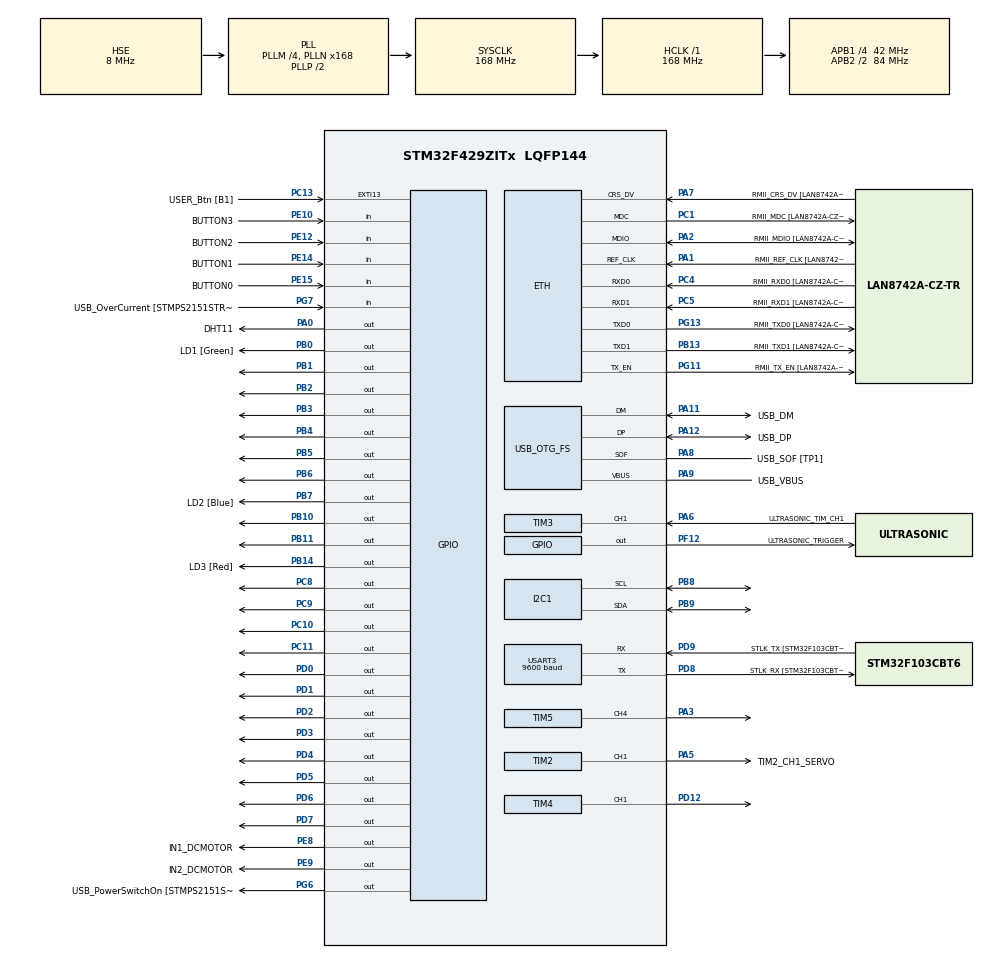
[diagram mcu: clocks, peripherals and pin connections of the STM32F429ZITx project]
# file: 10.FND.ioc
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ETH.MediaInterface=HAL_ETH_RMII_MODE
ETH.PHY_Name=LAN8742A_PHY_ADDRESS
ETH.PHY_Value=0
ETH.PhyAddress=0
Mcu.Family=STM32F4
Mcu.Name=STM32F429ZITx
Mcu.Package=LQFP144
NVIC.PriorityGroup=NVIC_PRIORITYGROUP_4
NVIC.TIM1_TRG_COM_TIM11_IRQn=true\:0\:0\:false\:false\:true\:true\:true\:true
NVIC.TIM1_UP_TIM10_IRQn=true\:0\:0\:false\:false\:true\:true\:true\:true
NVIC.TIM2_IRQn=true\:0\:0\:false\:false\:true\:true\:true\:true
NVIC.TIM3_IRQn=true\:0\:0\:false\:false\:true\:true\:true\:true
NVIC.TIM4_IRQn=true\:0\:0\:false\:false\:true\:true\:true\:true
NVIC.TIM5_IRQn=true\:0\:0\:false\:false\:true\:true\:true\:true
NVIC.USART3_IRQn=true\:0\:0\:false\:false\:true\:true\:true\:true
PA0/WKUP.GPIO_Label=DHT11
PA0/WKUP.Signal=GPIO_Output
PA1.GPIO_Label=RMII_REF_CLK [LAN8742A-CZ-TR_REFCLK0]
PA1.Mode=RMII
PA1.Signal=ETH_REF_CLK
PA10.GPIO_Label=USB_ID
PA10.Signal=USB_OTG_FS_ID
PA11.GPIO_Label=USB_DM
PA11.Mode=Device_Only
PA11.Signal=USB_OTG_FS_DM
PA12.GPIO_Label=USB_DP
PA12.Mode=Device_Only
PA12.Signal=USB_OTG_FS_DP
PA13.GPIO_Label=TMS
PA13.Mode=Serial_Wire
PA13.Signal=SYS_JTMS-SWDIO
PA14.GPIO_Label=TCK
PA14.Mode=Serial_Wire
PA14.Signal=SYS_JTCK-SWCLK
PA2.GPIO_Label=RMII_MDIO [LAN8742A-CZ-TR_MDIO]
PA2.Mode=RMII
PA2.Signal=ETH_MDIO
PA3.Signal=S_TIM5_CH4
PA5.GPIO_Label=TIM2_CH1_SERVO
PA5.Signal=S_TIM2_CH1_ETR
PA6.GPIO_Label=ULTRASONIC_TIM_CH1
PA6.Signal=S_TIM3_CH1
PA7.GPIO_Label=RMII_CRS_DV [LAN8742A-CZ-TR_CRS_DV]
PA7.Mode=RMII
PA7.Signal=ETH_CRS_DV
PA8.GPIO_Label=USB_SOF [TP1]
PA8.Mode=Activate_SOF_FS
PA8.Signal=USB_OTG_FS_SOF
PA9.GPIO_Label=USB_VBUS
PA9.Mode=Activate_VBUS
PA9.Signal=USB_OTG_FS_VBUS
PB0.GPIO_Label=LD1 [Green]
PB0.Signal=GPIO_Output
PB1.Signal=GPIO_Output
PB10.Signal=GPIO_Output
PB11.Signal=GPIO_Output
PB13.GPIO_Label=RMII_TXD1 [LAN8742A-CZ-TR_TXD1]
PB13.Mode=RMII
PB13.Signal=ETH_TXD1
PB14.GPIO_Label=LD3 [Red]
PB14.Signal=GPIO_Output
PB2/BOOT1.Signal=GPIO_Output
PB3.Signal=GPIO_Output
PB4.Signal=GPIO_Output
PB5.Signal=GPIO_Output
PB6.Signal=GPIO_Output
PB7.GPIO_Label=LD2 [Blue]
PB7.Signal=GPIO_Output
PB8.Mode=I2C
PB8.Signal=I2C1_SCL
PB9.Mode=I2C
PB9.Signal=I2C1_SDA
PC1.GPIO_Label=RMII_MDC [LAN8742A-CZ-TR_MDC]
PC1.Mode=RMII
PC1.Signal=ETH_MDC
PC10.Signal=GPIO_Output
PC11.Signal=GPIO_Output
PC13.GPIO_Label=USER_Btn [B1]
PC13.Signal=GPXTI13
PC14/OSC32_IN.Mode=LSE-External-Oscillator
PC14/OSC32_IN.Signal=RCC_OSC32_IN
PC15/OSC32_OUT.Mode=LSE-External-Oscillator
PC15/OSC32_OUT.Signal=RCC_OSC32_OUT
PC4.GPIO_Label=RMII_RXD0 [LAN8742A-CZ-TR_RXD0]
PC4.Mode=RMII
PC4.Signal=ETH_RXD0
PC5.GPIO_Label=RMII_RXD1 [LAN8742A-CZ-TR_RXD1]
PC5.Mode=RMII
PC5.Signal=ETH_RXD1
PC8.Signal=GPIO_Output
PC9.Signal=GPIO_Output
PD0.Signal=GPIO_Output
PD1.Signal=GPIO_Output
PD12.Signal=S_TIM4_CH1
PD2.Signal=GPIO_Output
PD3.Signal=GPIO_Output
PD4.Signal=GPIO_Output
PD5.Signal=GPIO_Output
PD6.Signal=GPIO_Output
PD7.Signal=GPIO_Output
PD8.GPIO_Label=STLK_RX [STM32F103CBT6_PA3]
PD8.Mode=Asynchronous
PD8.Signal=USART3_TX
PD9.GPIO_Label=STLK_TX [STM32F103CBT6_PA2]
PD9.Mode=Asynchronous
PD9.Signal=USART3_RX
PE10.GPIO_Label=BUTTON3
PE10.Signal=GPIO_Input
PE12.GPIO_Label=BUTTON2
PE12.Signal=GPIO_Input
PE14.GPIO_Label=BUTTON1
PE14.Signal=GPIO_Input
PE15.GPIO_Label=BUTTON0
PE15.Signal=GPIO_Input
PE8.GPIO_Label=IN1_DCMOTOR
PE8.Signal=GPIO_Output
PE9.GPIO_Label=IN2_DCMOTOR
PE9.Signal=GPIO_Output
PF12.GPIO_Label=ULTRASONIC_TRIGGER
PF12.Signal=GPIO_Output
PG11.GPIO_Label=RMII_TX_EN [LAN8742A-CZ-TR_TXEN]
PG11.Mode=RMII
PG11.Signal=ETH_TX_EN
PG13.GPIO_Label=RMII_TXD0 [LAN8742A-CZ-TR_TXD0]
PG13.Mode=RMII
PG13.Signal=ETH_TXD0
PG6.GPIO_Label=USB_PowerSwitchOn [STMPS2151STR_EN]
PG6.Signal=GPIO_Output
PG7.GPIO_Label=USB_OverCurrent [STMPS2151STR_FAULT]
PG7.Signal=GPIO_Input
PH0/OSC_IN.GPIO_Label=MCO [STM32F103CBT6_PA8]
PH0/OSC_IN.Mode=HSE-External-Clock-Source
PH0/OSC_IN.Signal=RCC_OSC_IN
PH1/OSC_OUT.Mode=HSE-External-Clock-Source
PH1/OSC_OUT.Signal=RCC_OSC_OUT
ProjectManager.HeapSize=0x200
ProjectManager.StackSize=0x400
ProjectManager.TargetToolchain=STM32CubeIDE
RCC.48MHZClocksFreq_Value=48000000
RCC.AHBFreq_Value=168000000
RCC.APB1CLKDivider=RCC_HCLK_DIV4
RCC.APB1Freq_Value=42000000
RCC.APB1TimFreq_Value=84000000
RCC.APB2CLKDivider=RCC_HCLK_DIV2
RCC.APB2Freq_Value=84000000
RCC.APB2TimCLKDivider=2
RCC.APB2TimFreq_Value=168000000
RCC.CortexFreq_Value=168000000
RCC.HCLKFreq_Value=168000000
RCC.HSE_VALUE=8000000
RCC.HSI_VALUE=16000000
RCC.PLLM=4
RCC.PLLMUL=RCC_PLL_MUL9
RCC.PLLN=168
RCC.PLLQ=7
RCC.PRESCALERUSB=RCC_USBCLKSOURCE_PLL_DIV1_5
RCC.SYSCLKFreq_VALUE=168000000
RCC.SYSCLKSource=RCC_SYSCLKSOURCE_PLLCLK
RCC.SYSCLKSourceVirtual=RCC_SYSCLKSOURCE_PLLCLK
RCC.USBFreq_Value=48000000
RCC.VCOOutputFreq_Value=336000000
RTC.Date=16
RTC.Hours=9
RTC.Minutes=39
RTC.Month=RTC_MONTH_OCTOBER
RTC.Year=23
SH.S_TIM2_CH1_ETR.0=TIM2_CH1,PWM Generation1 CH1
SH.S_TIM3_CH1.0=TIM3_CH1,Input_Capture1_from_TI1
SH.S_TIM4_CH1.0=TIM4_CH1,PWM Generation1 CH1
SH.S_TIM5_CH4.0=TIM5_CH4,PWM Generation4 CH4
TIM10.Period=10000-1
TIM10.Prescaler=168-1
TIM11.Prescaler=168-1
TIM2.Channel-PWM\ Generation1\ CH1=TIM_CHANNEL_1
TIM2.Period=1000-1
TIM2.Prescaler=1680-1
TIM2.Pulse-PWM\ Generation1\ CH1=500-1
TIM3.Channel-Input_Capture1_from_TI1=TIM_CHANNEL_1
TIM3.ICPolarity_CH1=TIM_INPUTCHANNELPOLARITY_BOTHEDGE
TIM3.Prescaler=84-1
TIM4.Channel-PWM\ Generation1\ CH1=TIM_CHANNEL_1
TIM4.OCFastMode_PWM-PWM\ Generation1\ CH1=TIM_OCFAST_ENABLE
TIM4.Period=100-1
TIM4.Prescaler=840-1
TIM4.Pulse-PWM\ Generation1\ CH1=70-1
TIM5.Channel-PWM\ Generation4\ CH4=TIM_CHANNEL_4
TIM5.Period=400-1
TIM5.Prescaler=52.5-1
TIM5.Pulse-PWM\ Generation4\ CH4=200-1
USART3.BaudRate=9600
USART3.VirtualMode=VM_ASYNC
USB_OTG_FS.VirtualMode=Device_Only
VP_RTC_VS_RTC_Activate.Mode=RTC_Enabled
VP_RTC_VS_RTC_Calendar.Mode=RTC_Calendar
VP_TIM10_VS_ClockSourceINT.Mode=Enable_Timer
VP_TIM11_VS_ClockSourceINT.Mode=Enable_Timer
VP_TIM4_VS_ClockSourceINT.Mode=Internal
VP_TIM5_VS_ClockSourceINT.Mode=Internal
board=NUCLEO-F429ZI

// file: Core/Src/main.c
/* USER CODE BEGIN Header */
/**
  ******************************************************************************
  * @file           : main.c
  * @brief          : Main program body
  ******************************************************************************
  * @attention
  *
  * Copyright (c) 2023 STMicroelectronics.
  * All rights reserved.
  *
  * This software is licensed under terms that can be found in the LICENSE file
  * in the root directory of this software component.
  * If no LICENSE file comes with this software, it is provided AS-IS.
  *
  ******************************************************************************
  */
/* USER CODE END Header */
#include "main.h"
#include "string.h"

ETH_TxPacketConfig TxConfig;
ETH_DMADescTypeDef  DMARxDscrTab[ETH_RX_DESC_CNT]; /* Ethernet Rx DMA Descriptors */
ETH_DMADescTypeDef  DMATxDscrTab[ETH_TX_DESC_CNT]; /* Ethernet Tx DMA Descriptors */

ETH_HandleTypeDef heth;

I2C_HandleTypeDef hi2c1;

RTC_HandleTypeDef hrtc;

TIM_HandleTypeDef htim2;
TIM_HandleTypeDef htim3;
TIM_HandleTypeDef htim4;
TIM_HandleTypeDef htim5;
TIM_HandleTypeDef htim10;
TIM_HandleTypeDef htim11;

UART_HandleTypeDef huart3;

PCD_HandleTypeDef hpcd_USB_OTG_FS;

/* USER CODE BEGIN PV */
UART_HandleTypeDef huart3;
UART_HandleTypeDef huart6;
uint8_t rx_data;	// uart3 rx data
uint8_t bt_rx_data;		// uart6 rx data
volatile int TIM10_10ms_counter = 0;
volatile int TIM10_10ms_ultrasonic = 0;
/* USER CODE END PV */

void SystemClock_Config(void);
static void MX_GPIO_Init(void);
static void MX_ETH_Init(void);
static void MX_USART3_UART_Init(void);
static void MX_USB_OTG_FS_PCD_Init(void);
static void MX_TIM10_Init(void);
static void MX_TIM11_Init(void);
static void MX_TIM3_Init(void);
static void MX_I2C1_Init(void);
static void MX_TIM4_Init(void);
static void MX_TIM2_Init(void);
static void MX_RTC_Init(void);
static void MX_TIM5_Init(void);
/* USER CODE BEGIN PFP */
extern void led_main(void);
extern void pc_command_processing(void);
extern void bt_command_processing(void);
extern void DHT11_main(void);
extern void DHT11_Init(void);
extern void DHT11_processing(void);
extern void ultrasonic_processing(void);
extern void i2c_lcd_main(void);
extern void i2c_lcd_init(void);
extern void lcd_string(uint8_t *str);
extern void move_cursor(uint8_t row, uint8_t column);
extern void dcmotor_pwm_control(void);
extern void servo_motor_test_main(void);
extern void get_rtc(void);
extern void lcd_display_mode_select(void);
extern void set_time_button_ui(void);
extern void buzzer_main();
extern void fnd4digit_main(void);
extern void FND4digit_off(void);
extern void fnd4digit_sec_clock(void);

void delay_us(unsigned long us);
/* USER CODE END PFP */

/* USER CODE BEGIN 0 */
// ----------------------
// call by SysTick Handler of stm32f4xx_it.c
// ARM default timer\
// enter here every 1ms
volatile int t1ms_counter = 0;	// volatile : disable optimize 최적?�� 방�?
volatile int fnd1ms_counter = 0;  // fnd1ms
void HAL_SYSTICK_Handler(void)
{
	t1ms_counter++;
	fnd1ms_counter++;
}
//----------  printf start ----------
#ifdef __GNUC__
/* With GCC, small printf (option LD Linker->Libraries->Small printf
   set to 'Yes') calls __io_putchar() */
#define PUTCHAR_PROTOTYPE int __io_putchar(int ch)
#else
#define PUTCHAR_PROTOTYPE int fputc(int ch, FILE *f)
#endif /* __GNUC_ */
/**
  * @brief  Retargets the C library printf function to the USART.
  * @param  None
  * @retval None
  */
PUTCHAR_PROTOTYPE   // Add for printf
{
  /* Place your implementation of fputc here */
  /* e.g. write a character to the USART3 and Loop until the end of transmission */
  HAL_UART_Transmit(&huart3, (uint8_t *)&ch, 1, 0xFFFF);

  return ch;
}
//----------  printf end ----------

// move from Dirver/STM32F4xx_HAL_Driver/stm32f4xx_hal_tim.c to here
// enter here when every timer INT occurs
//volatile int TIM10_10ms_counter = 0;

void HAL_TIM_PeriodElapsedCallback(TIM_HandleTypeDef *htim)
{
	if (htim->Instance == TIM10)
	{
		TIM10_10ms_counter++;
		TIM10_10ms_ultrasonic++;	// 초음?�� ?��?��(ultrasonic trigger) timer
	}
}

void delay_us(unsigned long us)
{
	__HAL_TIM_SET_COUNTER(&htim11, 0);	// timer11 clear
	while(__HAL_TIM_GET_COUNTER(&htim11) < us)
	;
}
/* USER CODE END 0 */

int main(void)
{

  /* MCU Configuration--------------------------------------------------------*/

  /* Reset of all peripherals, Initializes the Flash interface and the Systick. */
  HAL_Init();

  /* Configure the system clock */
  SystemClock_Config();

  /* Initialize all configured peripherals */
  MX_GPIO_Init();
  MX_ETH_Init();
  MX_USART3_UART_Init();
  MX_USB_OTG_FS_PCD_Init();
  MX_TIM10_Init();
  MX_TIM11_Init();
  MX_TIM3_Init();
  MX_I2C1_Init();
  MX_TIM4_Init();
  MX_TIM2_Init();
  MX_RTC_Init();
  MX_TIM5_Init();
  /* USER CODE BEGIN 2 */
  HAL_UART_Receive_IT(&huart3, &rx_data, 1); // assing to RX INT
  HAL_UART_Receive_IT(&huart6, &bt_rx_data, 1); //for BT assign to RX INT
  HAL_TIM_Base_Start_IT(&htim10);	// IT = Interrupt	ADD_JIMIN_1011
  HAL_TIM_Base_Start_IT(&htim11);	// IT = Interrupt	ADD_JIMIN_1011
  HAL_TIM_IC_Start_IT(&htim3, TIM_CHANNEL_1);	// for pulse count (rising edge & falling edge)
  HAL_TIM_PWM_Start_IT(&htim4, TIM_CHANNEL_1);	// for DC motor PWM count
  HAL_TIM_PWM_Start_IT(&htim5, TIM_CHANNEL_4);	// PIEZO Buzzer

  TIM10_10ms_counter = 0;

  DHT11_Init();
  i2c_lcd_init();

//  led_main();
//  DHT11_main();
//  i2c_lcd_main();
//  servo_motor_test_main();
//  buzzer_main();
//  fnd4digit_main();
  /* USER CODE END 2 */

  /* Infinite loop */
  /* USER CODE BEGIN WHILE */

  while (1)
  {
	  DHT11_processing();
	  pc_command_processing();
	  bt_command_processing();
	  ultrasonic_processing();
//	  dcmotor_pwm_control();
//	  get_rtc();
	  lcd_display_mode_select();
	  set_time_button_ui();
	  fnd4digit_sec_clock();

#if 0
	  if (TIM10_10ms_counter % 5 == 0)	// 50ms
	  {
//		  TIM10_10ms_counter = 0;
		  HAL_GPIO_TogglePin(GPIOB, GPIO_PIN_0);	// LED1

		  if (TIM10_10ms_counter % 10 == 0)
		  {
			  HAL_GPIO_TogglePin(GPIOB, GPIO_PIN_7);	// LED2
		  }
		  if (TIM10_10ms_counter % 15 == 0)
		  {
			  HAL_GPIO_TogglePin(GPIOB, GPIO_PIN_14);	// LED3
		  }
	  }

//	  if (TIM10_10ms_counter >= 5)	// 50ms
//	  {
//		  HAL_GPIO_TogglePin(GPIOB, GPIO_PIN_0);	// LED1
//
//		  if (TIM10_10ms_counter >= 10)
//		  {
//			  HAL_GPIO_TogglePin(GPIOB, GPIO_PIN_7);	// LED2
//			  if (TIM10_10ms_counter >= 15)
//			  {
//				  HAL_GPIO_TogglePin(GPIOB, GPIO_PIN_14);	// LED3
//				  TIM10_10ms_counter = 0;
//			  }
//		  }
//	  }
#endif
    /* USER CODE END WHILE */

    /* USER CODE BEGIN 3 */
//	  HAL_GPIO_TogglePin(GPIOB, GPIO_PIN_0);	// LED 1
//	  HAL_GPIO_TogglePin(GPIOB, GPIO_PIN_7);	// LED 2
//	  HAL_GPIO_TogglePin(GPIOB, GPIO_PIN_14);	// LED 3
//	  HAL_Delay(200);	// 200ms
  }
  /* USER CODE END 3 */
}

void SystemClock_Config(void)
{
  RCC_OscInitTypeDef RCC_OscInitStruct = {0};
  RCC_ClkInitTypeDef RCC_ClkInitStruct = {0};

  /** Configure the main internal regulator output voltage
  */
  __HAL_RCC_PWR_CLK_ENABLE();
  __HAL_PWR_VOLTAGESCALING_CONFIG(PWR_REGULATOR_VOLTAGE_SCALE1);

  /** Initializes the RCC Oscillators according to the specified parameters
  * in the RCC_OscInitTypeDef structure.
  */
  RCC_OscInitStruct.OscillatorType = RCC_OSCILLATORTYPE_LSI|RCC_OSCILLATORTYPE_HSE;
  RCC_OscInitStruct.HSEState = RCC_HSE_BYPASS;
  RCC_OscInitStruct.LSIState = RCC_LSI_ON;
  RCC_OscInitStruct.PLL.PLLState = RCC_PLL_ON;
  RCC_OscInitStruct.PLL.PLLSource = RCC_PLLSOURCE_HSE;
  RCC_OscInitStruct.PLL.PLLM = 4;
  RCC_OscInitStruct.PLL.PLLN = 168;
  RCC_OscInitStruct.PLL.PLLP = RCC_PLLP_DIV2;
  RCC_OscInitStruct.PLL.PLLQ = 7;
  if (HAL_RCC_OscConfig(&RCC_OscInitStruct) != HAL_OK)
  {
    Error_Handler();
  }

  /** Initializes the CPU, AHB and APB buses clocks
  */
  RCC_ClkInitStruct.ClockType = RCC_CLOCKTYPE_HCLK|RCC_CLOCKTYPE_SYSCLK
                              |RCC_CLOCKTYPE_PCLK1|RCC_CLOCKTYPE_PCLK2;
  RCC_ClkInitStruct.SYSCLKSource = RCC_SYSCLKSOURCE_PLLCLK;
  RCC_ClkInitStruct.AHBCLKDivider = RCC_SYSCLK_DIV1;
  RCC_ClkInitStruct.APB1CLKDivider = RCC_HCLK_DIV4;
  RCC_ClkInitStruct.APB2CLKDivider = RCC_HCLK_DIV2;

  if (HAL_RCC_ClockConfig(&RCC_ClkInitStruct, FLASH_LATENCY_5) != HAL_OK)
  {
    Error_Handler();
  }
}

static void MX_ETH_Init(void)
{

   static uint8_t MACAddr[6];

  heth.Instance = ETH;
  MACAddr[0] = 0x00;
  MACAddr[1] = 0x80;
  MACAddr[2] = 0xE1;
  MACAddr[3] = 0x00;
  MACAddr[4] = 0x00;
  MACAddr[5] = 0x00;
  heth.Init.MACAddr = &MACAddr[0];
  heth.Init.MediaInterface = HAL_ETH_RMII_MODE;
  heth.Init.TxDesc = DMATxDscrTab;
  heth.Init.RxDesc = DMARxDscrTab;
  heth.Init.RxBuffLen = 1524;

  if (HAL_ETH_Init(&heth) != HAL_OK)
  {
    Error_Handler();
  }

  memset(&TxConfig, 0 , sizeof(ETH_TxPacketConfig));
  TxConfig.Attributes = ETH_TX_PACKETS_FEATURES_CSUM | ETH_TX_PACKETS_FEATURES_CRCPAD;
  TxConfig.ChecksumCtrl = ETH_CHECKSUM_IPHDR_PAYLOAD_INSERT_PHDR_CALC;
  TxConfig.CRCPadCtrl = ETH_CRC_PAD_INSERT;

}

static void MX_I2C1_Init(void)
{

  hi2c1.Instance = I2C1;
  hi2c1.Init.ClockSpeed = 100000;
  hi2c1.Init.DutyCycle = I2C_DUTYCYCLE_2;
  hi2c1.Init.OwnAddress1 = 0;
  hi2c1.Init.AddressingMode = I2C_ADDRESSINGMODE_7BIT;
  hi2c1.Init.DualAddressMode = I2C_DUALADDRESS_DISABLE;
  hi2c1.Init.OwnAddress2 = 0;
  hi2c1.Init.GeneralCallMode = I2C_GENERALCALL_DISABLE;
  hi2c1.Init.NoStretchMode = I2C_NOSTRETCH_DISABLE;
  if (HAL_I2C_Init(&hi2c1) != HAL_OK)
  {
    Error_Handler();
  }

  /** Configure Analogue filter
  */
  if (HAL_I2CEx_ConfigAnalogFilter(&hi2c1, I2C_ANALOGFILTER_ENABLE) != HAL_OK)
  {
    Error_Handler();
  }

  /** Configure Digital filter
  */
  if (HAL_I2CEx_ConfigDigitalFilter(&hi2c1, 0) != HAL_OK)
  {
    Error_Handler();
  }

}

static void MX_RTC_Init(void)
{

  RTC_TimeTypeDef sTime = {0};
  RTC_DateTypeDef sDate = {0};

  /** Initialize RTC Only
  */
  hrtc.Instance = RTC;
  hrtc.Init.HourFormat = RTC_HOURFORMAT_24;
  hrtc.Init.AsynchPrediv = 127;
  hrtc.Init.SynchPrediv = 255;
  hrtc.Init.OutPut = RTC_OUTPUT_DISABLE;
  hrtc.Init.OutPutPolarity = RTC_OUTPUT_POLARITY_HIGH;
  hrtc.Init.OutPutType = RTC_OUTPUT_TYPE_OPENDRAIN;
  if (HAL_RTC_Init(&hrtc) != HAL_OK)
  {
    Error_Handler();
  }

  /** Initialize RTC and set the Time and Date
  */
  sTime.Hours = 0x9;
  sTime.Minutes = 0x39;
  sTime.Seconds = 0x0;
  sTime.DayLightSaving = RTC_DAYLIGHTSAVING_NONE;
  sTime.StoreOperation = RTC_STOREOPERATION_RESET;
  if (HAL_RTC_SetTime(&hrtc, &sTime, RTC_FORMAT_BCD) != HAL_OK)
  {
    Error_Handler();
  }
  sDate.WeekDay = RTC_WEEKDAY_MONDAY;
  sDate.Month = RTC_MONTH_OCTOBER;
  sDate.Date = 0x16;
  sDate.Year = 0x23;

  if (HAL_RTC_SetDate(&hrtc, &sDate, RTC_FORMAT_BCD) != HAL_OK)
  {
    Error_Handler();
  }

}

static void MX_TIM2_Init(void)
{

  TIM_MasterConfigTypeDef sMasterConfig = {0};
  TIM_OC_InitTypeDef sConfigOC = {0};

  htim2.Instance = TIM2;
  htim2.Init.Prescaler = 1680-1;
  htim2.Init.CounterMode = TIM_COUNTERMODE_UP;
  htim2.Init.Period = 1000-1;
  htim2.Init.ClockDivision = TIM_CLOCKDIVISION_DIV1;
  htim2.Init.AutoReloadPreload = TIM_AUTORELOAD_PRELOAD_DISABLE;
  if (HAL_TIM_PWM_Init(&htim2) != HAL_OK)
  {
    Error_Handler();
  }
  sMasterConfig.MasterOutputTrigger = TIM_TRGO_RESET;
  sMasterConfig.MasterSlaveMode = TIM_MASTERSLAVEMODE_DISABLE;
  if (HAL_TIMEx_MasterConfigSynchronization(&htim2, &sMasterConfig) != HAL_OK)
  {
    Error_Handler();
  }
  sConfigOC.OCMode = TIM_OCMODE_PWM1;
  sConfigOC.Pulse = 500-1;
  sConfigOC.OCPolarity = TIM_OCPOLARITY_HIGH;
  sConfigOC.OCFastMode = TIM_OCFAST_DISABLE;
  if (HAL_TIM_PWM_ConfigChannel(&htim2, &sConfigOC, TIM_CHANNEL_1) != HAL_OK)
  {
    Error_Handler();
  }
  HAL_TIM_MspPostInit(&htim2);

}

static void MX_TIM3_Init(void)
{

  TIM_MasterConfigTypeDef sMasterConfig = {0};
  TIM_IC_InitTypeDef sConfigIC = {0};

  htim3.Instance = TIM3;
  htim3.Init.Prescaler = 84-1;
  htim3.Init.CounterMode = TIM_COUNTERMODE_UP;
  htim3.Init.Period = 65535;
  htim3.Init.ClockDivision = TIM_CLOCKDIVISION_DIV1;
  htim3.Init.AutoReloadPreload = TIM_AUTORELOAD_PRELOAD_DISABLE;
  if (HAL_TIM_IC_Init(&htim3) != HAL_OK)
  {
    Error_Handler();
  }
  sMasterConfig.MasterOutputTrigger = TIM_TRGO_RESET;
  sMasterConfig.MasterSlaveMode = TIM_MASTERSLAVEMODE_DISABLE;
  if (HAL_TIMEx_MasterConfigSynchronization(&htim3, &sMasterConfig) != HAL_OK)
  {
    Error_Handler();
  }
  sConfigIC.ICPolarity = TIM_INPUTCHANNELPOLARITY_BOTHEDGE;
  sConfigIC.ICSelection = TIM_ICSELECTION_DIRECTTI;
  sConfigIC.ICPrescaler = TIM_ICPSC_DIV1;
  sConfigIC.ICFilter = 0;
  if (HAL_TIM_IC_ConfigChannel(&htim3, &sConfigIC, TIM_CHANNEL_1) != HAL_OK)
  {
    Error_Handler();
  }

}

static void MX_TIM4_Init(void)
{

  TIM_ClockConfigTypeDef sClockSourceConfig = {0};
  TIM_MasterConfigTypeDef sMasterConfig = {0};
  TIM_OC_InitTypeDef sConfigOC = {0};

  htim4.Instance = TIM4;
  htim4.Init.Prescaler = 840-1;
  htim4.Init.CounterMode = TIM_COUNTERMODE_UP;
  htim4.Init.Period = 100-1;
  htim4.Init.ClockDivision = TIM_CLOCKDIVISION_DIV1;
  htim4.Init.AutoReloadPreload = TIM_AUTORELOAD_PRELOAD_DISABLE;
  if (HAL_TIM_Base_Init(&htim4) != HAL_OK)
  {
    Error_Handler();
  }
  sClockSourceConfig.ClockSource = TIM_CLOCKSOURCE_INTERNAL;
  if (HAL_TIM_ConfigClockSource(&htim4, &sClockSourceConfig) != HAL_OK)
  {
    Error_Handler();
  }
  if (HAL_TIM_PWM_Init(&htim4) != HAL_OK)
  {
    Error_Handler();
  }
  sMasterConfig.MasterOutputTrigger = TIM_TRGO_RESET;
  sMasterConfig.MasterSlaveMode = TIM_MASTERSLAVEMODE_DISABLE;
  if (HAL_TIMEx_MasterConfigSynchronization(&htim4, &sMasterConfig) != HAL_OK)
  {
    Error_Handler();
  }
  sConfigOC.OCMode = TIM_OCMODE_PWM1;
  sConfigOC.Pulse = 70-1;
  sConfigOC.OCPolarity = TIM_OCPOLARITY_HIGH;
  sConfigOC.OCFastMode = TIM_OCFAST_ENABLE;
  if (HAL_TIM_PWM_ConfigChannel(&htim4, &sConfigOC, TIM_CHANNEL_1) != HAL_OK)
  {
    Error_Handler();
  }
  HAL_TIM_MspPostInit(&htim4);

}

static void MX_TIM5_Init(void)
{

  TIM_ClockConfigTypeDef sClockSourceConfig = {0};
  TIM_MasterConfigTypeDef sMasterConfig = {0};
  TIM_OC_InitTypeDef sConfigOC = {0};

  htim5.Instance = TIM5;
  htim5.Init.Prescaler = 52.5-1;
  htim5.Init.CounterMode = TIM_COUNTERMODE_UP;
  htim5.Init.Period = 400-1;
  htim5.Init.ClockDivision = TIM_CLOCKDIVISION_DIV1;
  htim5.Init.AutoReloadPreload = TIM_AUTORELOAD_PRELOAD_DISABLE;
  if (HAL_TIM_Base_Init(&htim5) != HAL_OK)
  {
    Error_Handler();
  }
  sClockSourceConfig.ClockSource = TIM_CLOCKSOURCE_INTERNAL;
  if (HAL_TIM_ConfigClockSource(&htim5, &sClockSourceConfig) != HAL_OK)
  {
    Error_Handler();
  }
  if (HAL_TIM_PWM_Init(&htim5) != HAL_OK)
  {
    Error_Handler();
  }
  sMasterConfig.MasterOutputTrigger = TIM_TRGO_RESET;
  sMasterConfig.MasterSlaveMode = TIM_MASTERSLAVEMODE_DISABLE;
  if (HAL_TIMEx_MasterConfigSynchronization(&htim5, &sMasterConfig) != HAL_OK)
  {
    Error_Handler();
  }
  sConfigOC.OCMode = TIM_OCMODE_PWM1;
  sConfigOC.Pulse = 200-1;
  sConfigOC.OCPolarity = TIM_OCPOLARITY_HIGH;
  sConfigOC.OCFastMode = TIM_OCFAST_DISABLE;
  if (HAL_TIM_PWM_ConfigChannel(&htim5, &sConfigOC, TIM_CHANNEL_4) != HAL_OK)
  {
    Error_Handler();
  }
  HAL_TIM_MspPostInit(&htim5);

}

static void MX_TIM10_Init(void)
{

  htim10.Instance = TIM10;
  htim10.Init.Prescaler = 168-1;
  htim10.Init.CounterMode = TIM_COUNTERMODE_UP;
  htim10.Init.Period = 10000-1;
  htim10.Init.ClockDivision = TIM_CLOCKDIVISION_DIV1;
  htim10.Init.AutoReloadPreload = TIM_AUTORELOAD_PRELOAD_DISABLE;
  if (HAL_TIM_Base_Init(&htim10) != HAL_OK)
  {
    Error_Handler();
  }

}

static void MX_TIM11_Init(void)
{

  htim11.Instance = TIM11;
  htim11.Init.Prescaler = 168-1;
  htim11.Init.CounterMode = TIM_COUNTERMODE_UP;
  htim11.Init.Period = 65535;
  htim11.Init.ClockDivision = TIM_CLOCKDIVISION_DIV1;
  htim11.Init.AutoReloadPreload = TIM_AUTORELOAD_PRELOAD_DISABLE;
  if (HAL_TIM_Base_Init(&htim11) != HAL_OK)
  {
    Error_Handler();
  }

}

static void MX_USART3_UART_Init(void)
{

  huart3.Instance = USART3;
  huart3.Init.BaudRate = 9600;
  huart3.Init.WordLength = UART_WORDLENGTH_8B;
  huart3.Init.StopBits = UART_STOPBITS_1;
  huart3.Init.Parity = UART_PARITY_NONE;
  huart3.Init.Mode = UART_MODE_TX_RX;
  huart3.Init.HwFlowCtl = UART_HWCONTROL_NONE;
  huart3.Init.OverSampling = UART_OVERSAMPLING_16;
  if (HAL_UART_Init(&huart3) != HAL_OK)
  {
    Error_Handler();
  }

}

static void MX_USB_OTG_FS_PCD_Init(void)
{

  hpcd_USB_OTG_FS.Instance = USB_OTG_FS;
  hpcd_USB_OTG_FS.Init.dev_endpoints = 4;
  hpcd_USB_OTG_FS.Init.speed = PCD_SPEED_FULL;
  hpcd_USB_OTG_FS.Init.dma_enable = DISABLE;
  hpcd_USB_OTG_FS.Init.phy_itface = PCD_PHY_EMBEDDED;
  hpcd_USB_OTG_FS.Init.Sof_enable = ENABLE;
  hpcd_USB_OTG_FS.Init.low_power_enable = DISABLE;
  hpcd_USB_OTG_FS.Init.lpm_enable = DISABLE;
  hpcd_USB_OTG_FS.Init.vbus_sensing_enable = ENABLE;
  hpcd_USB_OTG_FS.Init.use_dedicated_ep1 = DISABLE;
  if (HAL_PCD_Init(&hpcd_USB_OTG_FS) != HAL_OK)
  {
    Error_Handler();
  }

}

static void MX_GPIO_Init(void)
{
  GPIO_InitTypeDef GPIO_InitStruct = {0};

  /* GPIO Ports Clock Enable */
  __HAL_RCC_GPIOC_CLK_ENABLE();
  __HAL_RCC_GPIOH_CLK_ENABLE();
  __HAL_RCC_GPIOA_CLK_ENABLE();
  __HAL_RCC_GPIOB_CLK_ENABLE();
  __HAL_RCC_GPIOF_CLK_ENABLE();
  __HAL_RCC_GPIOE_CLK_ENABLE();
  __HAL_RCC_GPIOD_CLK_ENABLE();
  __HAL_RCC_GPIOG_CLK_ENABLE();

  /*Configure GPIO pin Output Level */
  HAL_GPIO_WritePin(DHT11_GPIO_Port, DHT11_Pin, GPIO_PIN_RESET);

  /*Configure GPIO pin Output Level */
  HAL_GPIO_WritePin(GPIOB, LD1_Pin|GPIO_PIN_1|GPIO_PIN_2|GPIO_PIN_10
                          |GPIO_PIN_11|LD3_Pin|GPIO_PIN_3|GPIO_PIN_4
                          |GPIO_PIN_5|GPIO_PIN_6|LD2_Pin, GPIO_PIN_RESET);

  /*Configure GPIO pin Output Level */
  HAL_GPIO_WritePin(ULTRASONIC_TRIGGER_GPIO_Port, ULTRASONIC_TRIGGER_Pin, GPIO_PIN_RESET);

  /*Configure GPIO pin Output Level */
  HAL_GPIO_WritePin(GPIOE, IN1_DCMOTOR_Pin|IN2_DCMOTOR_Pin, GPIO_PIN_RESET);

  /*Configure GPIO pin Output Level */
  HAL_GPIO_WritePin(USB_PowerSwitchOn_GPIO_Port, USB_PowerSwitchOn_Pin, GPIO_PIN_RESET);

  /*Configure GPIO pin Output Level */
  HAL_GPIO_WritePin(GPIOC, GPIO_PIN_8|GPIO_PIN_9|GPIO_PIN_10|GPIO_PIN_11, GPIO_PIN_RESET);

  /*Configure GPIO pin Output Level */
  HAL_GPIO_WritePin(GPIOD, GPIO_PIN_0|GPIO_PIN_1|GPIO_PIN_2|GPIO_PIN_3
                          |GPIO_PIN_4|GPIO_PIN_5|GPIO_PIN_6|GPIO_PIN_7, GPIO_PIN_RESET);

  /*Configure GPIO pin : USER_Btn_Pin */
  GPIO_InitStruct.Pin = USER_Btn_Pin;
  GPIO_InitStruct.Mode = GPIO_MODE_IT_RISING;
  GPIO_InitStruct.Pull = GPIO_NOPULL;
  HAL_GPIO_Init(USER_Btn_GPIO_Port, &GPIO_InitStruct);

  /*Configure GPIO pin : DHT11_Pin */
  GPIO_InitStruct.Pin = DHT11_Pin;
  GPIO_InitStruct.Mode = GPIO_MODE_OUTPUT_PP;
  GPIO_InitStruct.Pull = GPIO_NOPULL;
  GPIO_InitStruct.Speed = GPIO_SPEED_FREQ_LOW;
  HAL_GPIO_Init(DHT11_GPIO_Port, &GPIO_InitStruct);

  /*Configure GPIO pins : LD1_Pin PB1 PB2 PB10
                           PB11 LD3_Pin PB3 PB4
                           PB5 PB6 LD2_Pin */
  GPIO_InitStruct.Pin = LD1_Pin|GPIO_PIN_1|GPIO_PIN_2|GPIO_PIN_10
                          |GPIO_PIN_11|LD3_Pin|GPIO_PIN_3|GPIO_PIN_4
                          |GPIO_PIN_5|GPIO_PIN_6|LD2_Pin;
  GPIO_InitStruct.Mode = GPIO_MODE_OUTPUT_PP;
  GPIO_InitStruct.Pull = GPIO_NOPULL;
  GPIO_InitStruct.Speed = GPIO_SPEED_FREQ_LOW;
  HAL_GPIO_Init(GPIOB, &GPIO_InitStruct);

  /*Configure GPIO pin : ULTRASONIC_TRIGGER_Pin */
  GPIO_InitStruct.Pin = ULTRASONIC_TRIGGER_Pin;
  GPIO_InitStruct.Mode = GPIO_MODE_OUTPUT_PP;
  GPIO_InitStruct.Pull = GPIO_NOPULL;
  GPIO_InitStruct.Speed = GPIO_SPEED_FREQ_LOW;
  HAL_GPIO_Init(ULTRASONIC_TRIGGER_GPIO_Port, &GPIO_InitStruct);

  /*Configure GPIO pins : IN1_DCMOTOR_Pin IN2_DCMOTOR_Pin */
  GPIO_InitStruct.Pin = IN1_DCMOTOR_Pin|IN2_DCMOTOR_Pin;
  GPIO_InitStruct.Mode = GPIO_MODE_OUTPUT_PP;
  GPIO_InitStruct.Pull = GPIO_NOPULL;
  GPIO_InitStruct.Speed = GPIO_SPEED_FREQ_LOW;
  HAL_GPIO_Init(GPIOE, &GPIO_InitStruct);

  /*Configure GPIO pins : BUTTON3_Pin BUTTON2_Pin BUTTON1_Pin BUTTON0_Pin */
  GPIO_InitStruct.Pin = BUTTON3_Pin|BUTTON2_Pin|BUTTON1_Pin|BUTTON0_Pin;
  GPIO_InitStruct.Mode = GPIO_MODE_INPUT;
  GPIO_InitStruct.Pull = GPIO_NOPULL;
  HAL_GPIO_Init(GPIOE, &GPIO_InitStruct);

  /*Configure GPIO pin : USB_PowerSwitchOn_Pin */
  GPIO_InitStruct.Pin = USB_PowerSwitchOn_Pin;
  GPIO_InitStruct.Mode = GPIO_MODE_OUTPUT_PP;
  GPIO_InitStruct.Pull = GPIO_NOPULL;
  GPIO_InitStruct.Speed = GPIO_SPEED_FREQ_LOW;
  HAL_GPIO_Init(USB_PowerSwitchOn_GPIO_Port, &GPIO_InitStruct);

  /*Configure GPIO pin : USB_OverCurrent_Pin */
  GPIO_InitStruct.Pin = USB_OverCurrent_Pin;
  GPIO_InitStruct.Mode = GPIO_MODE_INPUT;
  GPIO_InitStruct.Pull = GPIO_NOPULL;
  HAL_GPIO_Init(USB_OverCurrent_GPIO_Port, &GPIO_InitStruct);

  /*Configure GPIO pins : PC8 PC9 PC10 PC11 */
  GPIO_InitStruct.Pin = GPIO_PIN_8|GPIO_PIN_9|GPIO_PIN_10|GPIO_PIN_11;
  GPIO_InitStruct.Mode = GPIO_MODE_OUTPUT_PP;
  GPIO_InitStruct.Pull = GPIO_NOPULL;
  GPIO_InitStruct.Speed = GPIO_SPEED_FREQ_LOW;
  HAL_GPIO_Init(GPIOC, &GPIO_InitStruct);

  /*Configure GPIO pins : PD0 PD1 PD2 PD3
                           PD4 PD5 PD6 PD7 */
  GPIO_InitStruct.Pin = GPIO_PIN_0|GPIO_PIN_1|GPIO_PIN_2|GPIO_PIN_3
                          |GPIO_PIN_4|GPIO_PIN_5|GPIO_PIN_6|GPIO_PIN_7;
  GPIO_InitStruct.Mode = GPIO_MODE_OUTPUT_PP;
  GPIO_InitStruct.Pull = GPIO_NOPULL;
  GPIO_InitStruct.Speed = GPIO_SPEED_FREQ_LOW;
  HAL_GPIO_Init(GPIOD, &GPIO_InitStruct);

}

void Error_Handler(void)
{
  __disable_irq();
  while (1)
  {
  }
}
